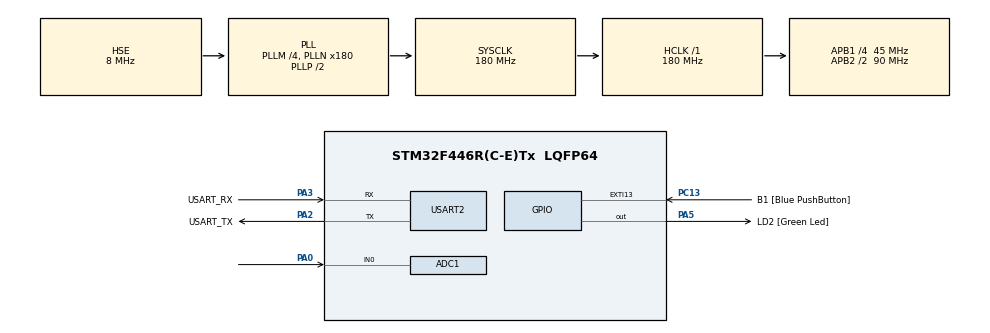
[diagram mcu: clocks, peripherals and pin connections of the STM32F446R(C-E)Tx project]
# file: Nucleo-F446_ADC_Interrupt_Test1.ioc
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ADC1.Channel-4\#ChannelRegularConversion=ADC_CHANNEL_0
ADC1.ContinuousConvMode=ENABLE
ADC1.EOCSelection=ADC_EOC_SEQ_CONV
ADC1.NbrOfConversion=1
ADC1.NbrOfConversionFlag=1
ADC1.Rank-4\#ChannelRegularConversion=1
ADC1.SamplingTime-4\#ChannelRegularConversion=ADC_SAMPLETIME_3CYCLES
ADC1.master=1
Mcu.Family=STM32F4
Mcu.Name=STM32F446R(C-E)Tx
Mcu.Package=LQFP64
NVIC.ADC_IRQn=true\:0\:0\:false\:false\:true\:true\:true
NVIC.PriorityGroup=NVIC_PRIORITYGROUP_0
PA0-WKUP.Signal=ADCx_IN0
PA13.GPIO_Label=TMS
PA13.Mode=Serial_Wire
PA13.Signal=SYS_JTMS-SWDIO
PA14.GPIO_Label=TCK
PA14.Mode=Serial_Wire
PA14.Signal=SYS_JTCK-SWCLK
PA2.GPIO_Label=USART_TX
PA2.Mode=Asynchronous
PA2.Signal=USART2_TX
PA3.GPIO_Label=USART_RX
PA3.Mode=Asynchronous
PA3.Signal=USART2_RX
PA5.GPIO_Label=LD2 [Green Led]
PA5.Signal=GPIO_Output
PB3.GPIO_Label=SWO
PB3.Signal=SYS_JTDO-SWO
PC13.GPIO_Label=B1 [Blue PushButton]
PC13.GPIO_ModeDefaultEXTI=GPIO_MODE_IT_FALLING
PC13.Signal=GPXTI13
PC14-OSC32_IN.Mode=LSE-External-Oscillator
PC14-OSC32_IN.Signal=RCC_OSC32_IN
PC15-OSC32_OUT.Mode=LSE-External-Oscillator
PC15-OSC32_OUT.Signal=RCC_OSC32_OUT
PH0-OSC_IN.Mode=HSE-External-Oscillator
PH0-OSC_IN.Signal=RCC_OSC_IN
PH1-OSC_OUT.Mode=HSE-External-Oscillator
PH1-OSC_OUT.Signal=RCC_OSC_OUT
ProjectManager.HeapSize=0x200
ProjectManager.StackSize=0x400
ProjectManager.TargetToolchain=SW4STM32
RCC.48MHZClocksFreq_Value=84000000
RCC.AHBFreq_Value=180000000
RCC.APB1CLKDivider=RCC_HCLK_DIV4
RCC.APB1Freq_Value=45000000
RCC.APB1TimFreq_Value=90000000
RCC.APB2CLKDivider=RCC_HCLK_DIV2
RCC.APB2Freq_Value=90000000
RCC.APB2TimFreq_Value=180000000
RCC.CortexFreq_Value=180000000
RCC.FLatency-AdvancedSettings=FLASH_LATENCY_5
RCC.HCLKFreq_Value=180000000
RCC.HSE_VALUE=8000000
RCC.HSI_VALUE=16000000
RCC.PLLM=4
RCC.PLLN=180
RCC.PLLSourceVirtual=RCC_PLLSOURCE_HSE
RCC.SYSCLKFreq_VALUE=180000000
RCC.SYSCLKSource=RCC_SYSCLKSOURCE_PLLCLK
RCC.USBFreq_Value=180000000
RCC.VCOOutputFreq_Value=360000000
SH.ADCx_IN0.0=ADC1_IN0,IN0
USART2.VirtualMode=VM_ASYNC
board=NUCLEO-F446RE

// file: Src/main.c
/* USER CODE BEGIN Header */
/**
  ******************************************************************************
  * @file           : main.c
  * @brief          : Main program body
  ******************************************************************************
  * @attention
  *
  * <h2><center>&copy; Copyright (c) 2019 STMicroelectronics.
  * All rights reserved.</center></h2>
  *
  * This software component is licensed by ST under BSD 3-Clause license,
  * the "License"; You may not use this file except in compliance with the
  * License. You may obtain a copy of the License at:
  *                        opensource.org/licenses/BSD-3-Clause
  *
  ******************************************************************************
  */
/* USER CODE END Header */

#include "main.h"

/* USER CODE BEGIN Includes */
#include <stdio.h>
/* USER CODE END Includes */

ADC_HandleTypeDef hadc1;

UART_HandleTypeDef huart2;

/* USER CODE BEGIN PV */
/* Variable used to get converted value */
__IO uint16_t uhADCxConvertedValue = 0;
/* USER CODE END PV */

void SystemClock_Config(void);
static void MX_GPIO_Init(void);
static void MX_ADC1_Init(void);
static void MX_USART2_UART_Init(void);

/* USER CODE BEGIN 0 */
#ifdef __GNUC__
#define PUTCHAR_PROTOTYPE int __io_putchar(int ch)
#else
#define PUTCHAR_PROTOTYPE int fputc(int ch, FILE *f)
#endif
PUTCHAR_PROTOTYPE
{
 HAL_UART_Transmit(&huart2, (uint8_t *)&ch, 1, 0xFFFF);
 return ch;
}
/* USER CODE END 0 */

int main(void)
{

  /* MCU Configuration--------------------------------------------------------*/

  /* Reset of all peripherals, Initializes the Flash interface and the Systick. */
  HAL_Init();

  /* Configure the system clock */
  SystemClock_Config();

  /* Initialize all configured peripherals */
  MX_GPIO_Init();
  MX_ADC1_Init();
  MX_USART2_UART_Init();
  /* USER CODE BEGIN 2 */
  /*##-3- Start the conversion process #######################################*/
  if (HAL_ADC_Start_IT(&hadc1) != HAL_OK)
  {
    /* Start Conversation Error */
    Error_Handler();
  }
  /* USER CODE END 2 */

  /* Infinite loop */
  while (1)
  {

  }
}

void SystemClock_Config(void)
{
  RCC_OscInitTypeDef RCC_OscInitStruct = {0};
  RCC_ClkInitTypeDef RCC_ClkInitStruct = {0};

  /** Configure the main internal regulator output voltage
  */
  __HAL_RCC_PWR_CLK_ENABLE();
  __HAL_PWR_VOLTAGESCALING_CONFIG(PWR_REGULATOR_VOLTAGE_SCALE1);
  /** Initializes the CPU, AHB and APB busses clocks
  */
  RCC_OscInitStruct.OscillatorType = RCC_OSCILLATORTYPE_HSE;
  RCC_OscInitStruct.HSEState = RCC_HSE_ON;
  RCC_OscInitStruct.PLL.PLLState = RCC_PLL_ON;
  RCC_OscInitStruct.PLL.PLLSource = RCC_PLLSOURCE_HSE;
  RCC_OscInitStruct.PLL.PLLM = 4;
  RCC_OscInitStruct.PLL.PLLN = 180;
  RCC_OscInitStruct.PLL.PLLP = RCC_PLLP_DIV2;
  RCC_OscInitStruct.PLL.PLLQ = 2;
  RCC_OscInitStruct.PLL.PLLR = 2;
  if (HAL_RCC_OscConfig(&RCC_OscInitStruct) != HAL_OK)
  {
    Error_Handler();
  }
  /** Activate the Over-Drive mode
  */
  if (HAL_PWREx_EnableOverDrive() != HAL_OK)
  {
    Error_Handler();
  }
  /** Initializes the CPU, AHB and APB busses clocks
  */
  RCC_ClkInitStruct.ClockType = RCC_CLOCKTYPE_HCLK|RCC_CLOCKTYPE_SYSCLK
                              |RCC_CLOCKTYPE_PCLK1|RCC_CLOCKTYPE_PCLK2;
  RCC_ClkInitStruct.SYSCLKSource = RCC_SYSCLKSOURCE_PLLCLK;
  RCC_ClkInitStruct.AHBCLKDivider = RCC_SYSCLK_DIV1;
  RCC_ClkInitStruct.APB1CLKDivider = RCC_HCLK_DIV4;
  RCC_ClkInitStruct.APB2CLKDivider = RCC_HCLK_DIV2;

  if (HAL_RCC_ClockConfig(&RCC_ClkInitStruct, FLASH_LATENCY_5) != HAL_OK)
  {
    Error_Handler();
  }
}

static void MX_ADC1_Init(void)
{

  ADC_ChannelConfTypeDef sConfig = {0};

  /** Configure the global features of the ADC (Clock, Resolution, Data Alignment and number of conversion)
  */
  hadc1.Instance = ADC1;
  hadc1.Init.ClockPrescaler = ADC_CLOCK_SYNC_PCLK_DIV4;
  hadc1.Init.Resolution = ADC_RESOLUTION_12B;
  hadc1.Init.ScanConvMode = DISABLE;
  hadc1.Init.ContinuousConvMode = ENABLE;
  hadc1.Init.DiscontinuousConvMode = DISABLE;
  hadc1.Init.ExternalTrigConvEdge = ADC_EXTERNALTRIGCONVEDGE_NONE;
  hadc1.Init.ExternalTrigConv = ADC_SOFTWARE_START;
  hadc1.Init.DataAlign = ADC_DATAALIGN_RIGHT;
  hadc1.Init.NbrOfConversion = 1;
  hadc1.Init.DMAContinuousRequests = DISABLE;
  hadc1.Init.EOCSelection = ADC_EOC_SEQ_CONV;
  if (HAL_ADC_Init(&hadc1) != HAL_OK)
  {
    Error_Handler();
  }
  /** Configure for the selected ADC regular channel its corresponding rank in the sequencer and its sample time.
  */
  sConfig.Channel = ADC_CHANNEL_0;
  sConfig.Rank = 1;
  sConfig.SamplingTime = ADC_SAMPLETIME_3CYCLES;
  if (HAL_ADC_ConfigChannel(&hadc1, &sConfig) != HAL_OK)
  {
    Error_Handler();
  }

}

static void MX_USART2_UART_Init(void)
{

  huart2.Instance = USART2;
  huart2.Init.BaudRate = 115200;
  huart2.Init.WordLength = UART_WORDLENGTH_8B;
  huart2.Init.StopBits = UART_STOPBITS_1;
  huart2.Init.Parity = UART_PARITY_NONE;
  huart2.Init.Mode = UART_MODE_TX_RX;
  huart2.Init.HwFlowCtl = UART_HWCONTROL_NONE;
  huart2.Init.OverSampling = UART_OVERSAMPLING_16;
  if (HAL_UART_Init(&huart2) != HAL_OK)
  {
    Error_Handler();
  }

}

static void MX_GPIO_Init(void)
{
  GPIO_InitTypeDef GPIO_InitStruct = {0};

  /* GPIO Ports Clock Enable */
  __HAL_RCC_GPIOC_CLK_ENABLE();
  __HAL_RCC_GPIOH_CLK_ENABLE();
  __HAL_RCC_GPIOA_CLK_ENABLE();
  __HAL_RCC_GPIOB_CLK_ENABLE();

  /*Configure GPIO pin Output Level */
  HAL_GPIO_WritePin(LD2_GPIO_Port, LD2_Pin, GPIO_PIN_RESET);

  /*Configure GPIO pin : B1_Pin */
  GPIO_InitStruct.Pin = B1_Pin;
  GPIO_InitStruct.Mode = GPIO_MODE_IT_FALLING;
  GPIO_InitStruct.Pull = GPIO_NOPULL;
  HAL_GPIO_Init(B1_GPIO_Port, &GPIO_InitStruct);

  /*Configure GPIO pin : LD2_Pin */
  GPIO_InitStruct.Pin = LD2_Pin;
  GPIO_InitStruct.Mode = GPIO_MODE_OUTPUT_PP;
  GPIO_InitStruct.Pull = GPIO_NOPULL;
  GPIO_InitStruct.Speed = GPIO_SPEED_FREQ_LOW;
  HAL_GPIO_Init(LD2_GPIO_Port, &GPIO_InitStruct);

}

/* USER CODE BEGIN 4 */
/**
  * @brief  Conversion complete callback in non blocking mode
  * @param  AdcHandle : AdcHandle handle
  * @note   This example shows a simple way to report end of conversion, and
  *         you can add your own implementation.
  * @retval None
  */
void HAL_ADC_ConvCpltCallback(ADC_HandleTypeDef* AdcHandle)
{
  /* Get the converted value of regular channel */
  uhADCxConvertedValue = HAL_ADC_GetValue(AdcHandle);
  printf("ADC Value: %d\r\n", uhADCxConvertedValue);
}
/* USER CODE END 4 */

void Error_Handler(void)
{
}

/************************ (C) COPYRIGHT STMicroelectronics *****END OF FILE****/
